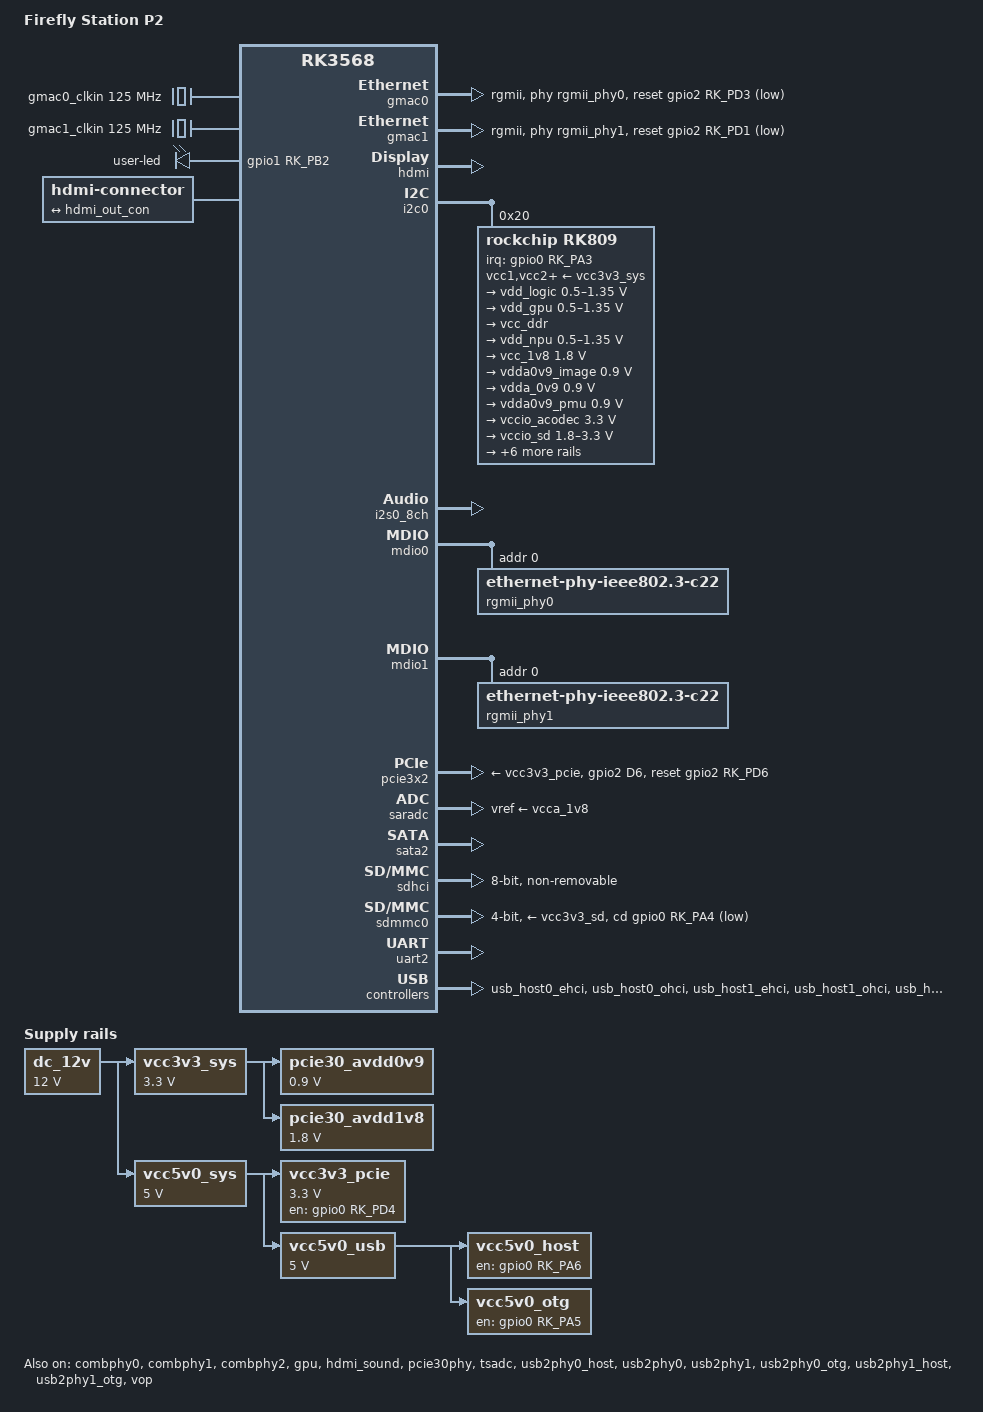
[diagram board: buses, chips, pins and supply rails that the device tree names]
// SPDX-License-Identifier: (GPL-2.0+ OR MIT)
/*
 * Copyright (c) 2021 Rockchip Electronics Co., Ltd.
 */

/dts-v1/;

#include <dt-bindings/gpio/gpio.h>
#include <dt-bindings/pinctrl/rockchip.h>
#include <dt-bindings/soc/rockchip,vop2.h>
#include "rk3568.dtsi"

/ {
	model = "Firefly Station P2";
	compatible = "firefly,rk3568-roc-pc", "rockchip,rk3568";

	aliases {
		ethernet0 = &gmac0;
		ethernet1 = &gmac1;
		mmc0 = &sdmmc0;
		mmc1 = &sdhci;
	};

	chosen: chosen {
		stdout-path = "serial2:1500000n8";
	};

	dc_12v: regulator-dc-12v {
		compatible = "regulator-fixed";
		regulator-name = "dc_12v";
		regulator-always-on;
		regulator-boot-on;
		regulator-min-microvolt = <12000000>;
		regulator-max-microvolt = <12000000>;
	};

	gmac0_clkin: external-gmac0-clock {
		compatible = "fixed-clock";
		clock-frequency = <125000000>;
		clock-output-names = "gmac0_clkin";
		#clock-cells = <0>;
	};

	gmac1_clkin: external-gmac1-clock {
		compatible = "fixed-clock";
		clock-frequency = <125000000>;
		clock-output-names = "gmac1_clkin";
		#clock-cells = <0>;
	};

	leds {
		compatible = "gpio-leds";

		led-user {
			label = "user-led";
			default-state = "on";
			gpios = <&gpio1 RK_PB2 GPIO_ACTIVE_HIGH>;
			linux,default-trigger = "heartbeat";
			pinctrl-names = "default";
			pinctrl-0 = <&user_led_enable_h>;
			retain-state-suspended;
		};
	};

	hdmi-con {
		compatible = "hdmi-connector";
		type = "a";

		port {
			hdmi_con_in: endpoint {
				remote-endpoint = <&hdmi_out_con>;
			};
		};
	};

	pcie30_avdd0v9: regulator-pcie30-avdd0v9 {
		compatible = "regulator-fixed";
		regulator-name = "pcie30_avdd0v9";
		regulator-always-on;
		regulator-boot-on;
		regulator-min-microvolt = <900000>;
		regulator-max-microvolt = <900000>;
		vin-supply = <&vcc3v3_sys>;
	};

	pcie30_avdd1v8: regulator-pcie30-avdd1v8 {
		compatible = "regulator-fixed";
		regulator-name = "pcie30_avdd1v8";
		regulator-always-on;
		regulator-boot-on;
		regulator-min-microvolt = <1800000>;
		regulator-max-microvolt = <1800000>;
		vin-supply = <&vcc3v3_sys>;
	};

	vcc3v3_sys: regulator-vcc3v3-sys {
		compatible = "regulator-fixed";
		regulator-name = "vcc3v3_sys";
		regulator-always-on;
		regulator-boot-on;
		regulator-min-microvolt = <3300000>;
		regulator-max-microvolt = <3300000>;
		vin-supply = <&dc_12v>;
	};

	vcc3v3_pcie: regulator-vcc3v3-pcie {
		compatible = "regulator-fixed";
		regulator-name = "vcc3v3_pcie";
		enable-active-high;
		regulator-min-microvolt = <3300000>;
		regulator-max-microvolt = <3300000>;
		pinctrl-names = "default";
		pinctrl-0 = <&vcc3v3_pcie_en_pin>;
		gpio = <&gpio0 RK_PD4 GPIO_ACTIVE_HIGH>;
		startup-delay-us = <5000>;
		vin-supply = <&vcc5v0_sys>;
	};

	vcc5v0_sys: regulator-vcc5v0-sys {
		compatible = "regulator-fixed";
		regulator-name = "vcc5v0_sys";
		regulator-always-on;
		regulator-boot-on;
		regulator-min-microvolt = <5000000>;
		regulator-max-microvolt = <5000000>;
		vin-supply = <&dc_12v>;
	};

	vcc5v0_usb: regulator-vcc5v0-usb {
		compatible = "regulator-fixed";
		regulator-name = "vcc5v0_usb";
		regulator-always-on;
		regulator-boot-on;
		regulator-min-microvolt = <5000000>;
		regulator-max-microvolt = <5000000>;
		vin-supply = <&vcc5v0_sys>;
	};

	vcc5v0_host: regulator-vcc5v0-host {
		compatible = "regulator-fixed";
		regulator-name = "vcc5v0_host";
		enable-active-high;
		gpio = <&gpio0 RK_PA6 GPIO_ACTIVE_HIGH>;
		pinctrl-names = "default";
		pinctrl-0 = <&vcc5v0_host_en>;
		regulator-always-on;
		vin-supply = <&vcc5v0_usb>;
	};

	vcc5v0_otg: regulator-vcc5v0-otg {
		compatible = "regulator-fixed";
		regulator-name = "vcc5v0_otg";
		enable-active-high;
		gpio = <&gpio0 RK_PA5 GPIO_ACTIVE_HIGH>;
		pinctrl-names = "default";
		pinctrl-0 = <&vcc5v0_otg_en>;
		vin-supply = <&vcc5v0_usb>;
	};
};

&combphy0 {
	/* used for USB3 */
	status = "okay";
};

&combphy1 {
	/* used for USB3 */
	status = "okay";
};

&combphy2 {
	/* used for SATA */
	status = "okay";
};

&gmac0 {
	assigned-clocks = <&cru SCLK_GMAC0_RX_TX>, <&cru SCLK_GMAC0>;
	assigned-clock-parents = <&cru SCLK_GMAC0_RGMII_SPEED>, <&gmac0_clkin>;
	clock_in_out = "input";
	pinctrl-names = "default";
	pinctrl-0 = <&gmac0_miim
			&gmac0_tx_bus2
			&gmac0_rx_bus2
			&gmac0_rgmii_clk
			&gmac0_rgmii_bus
			&gmac0_clkinout>;
	phy-handle = <&rgmii_phy0>;
	phy-mode = "rgmii";
	snps,reset-gpio = <&gpio2 RK_PD3 GPIO_ACTIVE_LOW>;
	snps,reset-active-low;
	/* Reset time is 20ms, 100ms for rtl8211f */
	snps,reset-delays-us = <0 20000 100000>;
	tx_delay = <0x3c>;
	rx_delay = <0x2f>;
	status = "okay";
};

&gmac1 {
	assigned-clocks = <&cru SCLK_GMAC1_RX_TX>, <&cru SCLK_GMAC1>;
	assigned-clock-parents = <&cru SCLK_GMAC1_RGMII_SPEED>, <&gmac1_clkin>;
	clock_in_out = "input";
	pinctrl-names = "default";
	pinctrl-0 = <&gmac1m1_miim
			&gmac1m1_tx_bus2
			&gmac1m1_rx_bus2
			&gmac1m1_rgmii_clk
			&gmac1m1_rgmii_bus
			&gmac1m1_clkinout>;
	phy-handle = <&rgmii_phy1>;
	phy-mode = "rgmii";
	snps,reset-gpio = <&gpio2 RK_PD1 GPIO_ACTIVE_LOW>;
	snps,reset-active-low;
	/* Reset time is 20ms, 100ms for rtl8211f */
	snps,reset-delays-us = <0 20000 100000>;
	tx_delay = <0x4f>;
	rx_delay = <0x26>;
	status = "okay";
};

&gpu {
	mali-supply = <&vdd_gpu>;
	status = "okay";
};

&hdmi {
	avdd-0v9-supply = <&vdda0v9_image>;
	avdd-1v8-supply = <&vcca1v8_image>;
	status = "okay";
};

&hdmi_in {
	hdmi_in_vp0: endpoint {
		remote-endpoint = <&vp0_out_hdmi>;
	};
};

&hdmi_out {
	hdmi_out_con: endpoint {
		remote-endpoint = <&hdmi_con_in>;
	};
};

&hdmi_sound {
	status = "okay";
};

&i2c0 {
	status = "okay";

	rk809: pmic@20 {
		compatible = "rockchip,rk809";
		reg = <0x20>;
		interrupt-parent = <&gpio0>;
		interrupts = <RK_PA3 IRQ_TYPE_LEVEL_LOW>;
		#clock-cells = <1>;
		pinctrl-names = "default";
		pinctrl-0 = <&pmic_int>;
		system-power-controller;
		vcc1-supply = <&vcc3v3_sys>;
		vcc2-supply = <&vcc3v3_sys>;
		vcc3-supply = <&vcc3v3_sys>;
		vcc4-supply = <&vcc3v3_sys>;
		vcc5-supply = <&vcc3v3_sys>;
		vcc6-supply = <&vcc3v3_sys>;
		vcc7-supply = <&vcc3v3_sys>;
		vcc8-supply = <&vcc3v3_sys>;
		vcc9-supply = <&vcc3v3_sys>;
		wakeup-source;

		regulators {
			vdd_logic: DCDC_REG1 {
				regulator-name = "vdd_logic";
				regulator-always-on;
				regulator-boot-on;
				regulator-initial-mode = <0x2>;
				regulator-min-microvolt = <500000>;
				regulator-max-microvolt = <1350000>;
				regulator-ramp-delay = <6001>;

				regulator-state-mem {
					regulator-off-in-suspend;
				};
			};

			vdd_gpu: DCDC_REG2 {
				regulator-name = "vdd_gpu";
				regulator-initial-mode = <0x2>;
				regulator-min-microvolt = <500000>;
				regulator-max-microvolt = <1350000>;
				regulator-ramp-delay = <6001>;

				regulator-state-mem {
					regulator-off-in-suspend;
				};
			};

			vcc_ddr: DCDC_REG3 {
				regulator-name = "vcc_ddr";
				regulator-always-on;
				regulator-boot-on;
				regulator-initial-mode = <0x2>;

				regulator-state-mem {
					regulator-on-in-suspend;
				};
			};

			vdd_npu: DCDC_REG4 {
				regulator-name = "vdd_npu";
				regulator-initial-mode = <0x2>;
				regulator-min-microvolt = <500000>;
				regulator-max-microvolt = <1350000>;
				regulator-ramp-delay = <6001>;

				regulator-state-mem {
					regulator-off-in-suspend;
				};
			};

			vcc_1v8: DCDC_REG5 {
				regulator-name = "vcc_1v8";
				regulator-always-on;
				regulator-boot-on;
				regulator-min-microvolt = <1800000>;
				regulator-max-microvolt = <1800000>;

				regulator-state-mem {
					regulator-off-in-suspend;
				};
			};

			vdda0v9_image: LDO_REG1 {
				regulator-name = "vdda0v9_image";
				regulator-min-microvolt = <900000>;
				regulator-max-microvolt = <900000>;

				regulator-state-mem {
					regulator-off-in-suspend;
				};
			};

			vdda_0v9: LDO_REG2 {
				regulator-name = "vdda_0v9";
				regulator-always-on;
				regulator-boot-on;
				regulator-min-microvolt = <900000>;
				regulator-max-microvolt = <900000>;

				regulator-state-mem {
					regulator-off-in-suspend;
				};
			};

			vdda0v9_pmu: LDO_REG3 {
				regulator-name = "vdda0v9_pmu";
				regulator-always-on;
				regulator-boot-on;
				regulator-min-microvolt = <900000>;
				regulator-max-microvolt = <900000>;

				regulator-state-mem {
					regulator-on-in-suspend;
					regulator-suspend-microvolt = <900000>;
				};
			};

			vccio_acodec: LDO_REG4 {
				regulator-name = "vccio_acodec";
				regulator-min-microvolt = <3300000>;
				regulator-max-microvolt = <3300000>;

				regulator-state-mem {
					regulator-off-in-suspend;
				};
			};

			vccio_sd: LDO_REG5 {
				regulator-name = "vccio_sd";
				regulator-min-microvolt = <1800000>;
				regulator-max-microvolt = <3300000>;

				regulator-state-mem {
					regulator-off-in-suspend;
				};
			};

			vcc3v3_pmu: LDO_REG6 {
				regulator-name = "vcc3v3_pmu";
				regulator-always-on;
				regulator-boot-on;
				regulator-min-microvolt = <3300000>;
				regulator-max-microvolt = <3300000>;

				regulator-state-mem {
					regulator-on-in-suspend;
					regulator-suspend-microvolt = <3300000>;
				};
			};

			vcca_1v8: LDO_REG7 {
				regulator-name = "vcca_1v8";
				regulator-always-on;
				regulator-boot-on;
				regulator-min-microvolt = <1800000>;
				regulator-max-microvolt = <1800000>;

				regulator-state-mem {
					regulator-off-in-suspend;
				};
			};

			vcca1v8_pmu: LDO_REG8 {
				regulator-name = "vcca1v8_pmu";
				regulator-always-on;
				regulator-boot-on;
				regulator-min-microvolt = <1800000>;
				regulator-max-microvolt = <1800000>;

				regulator-state-mem {
					regulator-on-in-suspend;
					regulator-suspend-microvolt = <1800000>;
				};
			};

			vcca1v8_image: LDO_REG9 {
				regulator-name = "vcca1v8_image";
				regulator-min-microvolt = <1800000>;
				regulator-max-microvolt = <1800000>;

				regulator-state-mem {
					regulator-off-in-suspend;
				};
			};

			vcc_3v3: SWITCH_REG1 {
				regulator-name = "vcc_3v3";
				regulator-always-on;
				regulator-boot-on;

				regulator-state-mem {
					regulator-off-in-suspend;
				};
			};

			vcc3v3_sd: SWITCH_REG2 {
				regulator-name = "vcc3v3_sd";
				regulator-always-on;
				regulator-boot-on;

				regulator-state-mem {
					regulator-off-in-suspend;
				};
			};
		};
	};
};

&i2s0_8ch {
	status = "okay";
};

&mdio0 {
	rgmii_phy0: phy@0 {
		compatible = "ethernet-phy-ieee802.3-c22";
		reg = <0x0>;
	};
};

&mdio1 {
	rgmii_phy1: phy@0 {
		compatible = "ethernet-phy-ieee802.3-c22";
		reg = <0x0>;
	};
};

&pcie30phy {
	status = "okay";
};

&pcie3x2 {
	pinctrl-names = "default";
	pinctrl-0 = <&pcie_reset_pin>;
	reset-gpios = <&gpio2 RK_PD6 GPIO_ACTIVE_HIGH>;
	vpcie3v3-supply = <&vcc3v3_pcie>;
	status = "okay";
};

&pinctrl {
	leds {
		user_led_enable_h: user-led-enable-h {
			rockchip,pins = <1 RK_PB2 RK_FUNC_GPIO &pcfg_pull_none>;
		};
	};

	usb {
		vcc5v0_host_en: vcc5v0-host-en {
			rockchip,pins = <0 RK_PA6 RK_FUNC_GPIO &pcfg_pull_none>;
		};

		vcc5v0_otg_en: vcc5v0-otg-en {
			rockchip,pins = <0 RK_PA5 RK_FUNC_GPIO &pcfg_pull_none>;
		};
	};

	pcie {
		pcie_reset_pin: pcie-reset-pin {
			rockchip,pins = <2 RK_PD6 RK_FUNC_GPIO &pcfg_pull_none>;
		};
		vcc3v3_pcie_en_pin: vcc3v3-pcie-en-pin {
			rockchip,pins = <0 RK_PD4 RK_FUNC_GPIO &pcfg_pull_none>;
		};
	};

	pmic {
		pmic_int: pmic-int {
			rockchip,pins =
				<0 RK_PA3 RK_FUNC_GPIO &pcfg_pull_up>;
		};
	};
};

&pmu_io_domains {
	pmuio1-supply = <&vcc3v3_pmu>;
	pmuio2-supply = <&vcc3v3_pmu>;
	vccio1-supply = <&vccio_acodec>;
	vccio2-supply = <&vcc_1v8>;
	vccio3-supply = <&vccio_sd>;
	vccio4-supply = <&vcc_1v8>;
	vccio5-supply = <&vcc_3v3>;
	vccio6-supply = <&vcc_1v8>;
	vccio7-supply = <&vcc_3v3>;
	status = "okay";
};

&saradc {
	vref-supply = <&vcca_1v8>;
	status = "okay";
};

&sata2 {
	status = "okay";
};

&sdhci {
	bus-width = <8>;
	max-frequency = <200000000>;
	non-removable;
	pinctrl-names = "default";
	pinctrl-0 = <&emmc_bus8 &emmc_clk &emmc_cmd &emmc_datastrobe>;
	status = "okay";
};

&sdmmc0 {
	bus-width = <4>;
	cap-sd-highspeed;
	cd-gpios = <&gpio0 RK_PA4 GPIO_ACTIVE_LOW>;
	disable-wp;
	pinctrl-names = "default";
	pinctrl-0 = <&sdmmc0_bus4 &sdmmc0_clk &sdmmc0_cmd &sdmmc0_det>;
	sd-uhs-sdr104;
	vmmc-supply = <&vcc3v3_sd>;
	vqmmc-supply = <&vccio_sd>;
	status = "okay";
};

&tsadc {
	status = "okay";
};

&uart2 {
	status = "okay";
};

&usb2phy0_host {
	phy-supply = <&vcc5v0_host>;
	status = "okay";
};

&usb2phy0 {
	status = "okay";
};

&usb2phy1 {
	status = "okay";
};

&usb2phy0_otg {
	status = "okay";
};

&usb2phy1_host {
	phy-supply = <&vcc5v0_host>;
	status = "okay";
};

&usb2phy1_otg {
	phy-supply = <&vcc5v0_host>;
	status = "okay";
};

&usb_host0_ehci {
	status = "okay";
};

&usb_host0_ohci {
	status = "okay";
};

&usb_host1_ehci {
	status = "okay";
};

&usb_host1_ohci {
	status = "okay";
};

&usb_host0_xhci {
	status = "okay";
};

&usb_host1_xhci {
	status = "okay";
};

&vp0 {
	vp0_out_hdmi: endpoint@ROCKCHIP_VOP2_EP_HDMI0 {
		reg = <ROCKCHIP_VOP2_EP_HDMI0>;
		remote-endpoint = <&hdmi_in_vp0>;
	};
};

&vop {
	assigned-clocks = <&cru DCLK_VOP0>, <&cru DCLK_VOP1>;
	assigned-clock-parents = <&pmucru PLL_HPLL>, <&cru PLL_VPLL>;
	status = "okay";
};

&vop_mmu {
	status = "okay";
};
